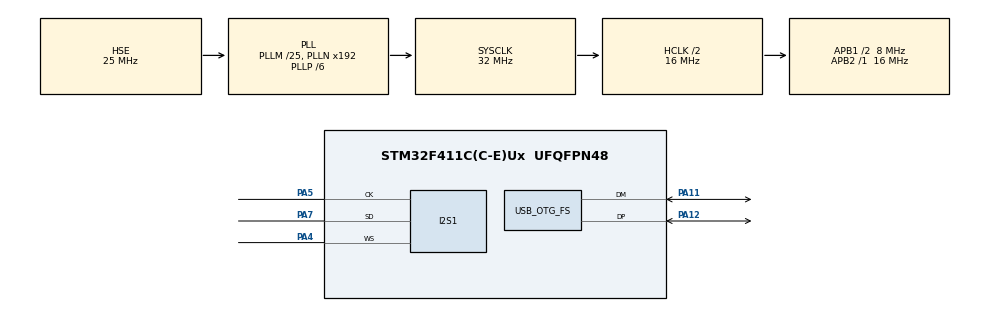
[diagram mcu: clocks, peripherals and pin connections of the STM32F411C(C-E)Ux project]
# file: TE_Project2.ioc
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I2S1.AudioFreq=I2S_AUDIOFREQ_48K
I2S1.ErrorAudioFreq=-0.35 %
I2S1.FullDuplexMode=I2S_FULLDUPLEXMODE_DISABLE
I2S1.Instance=SPI$Index
I2S1.RealAudioFreq=47.831 KHz
I2S1.VirtualMode=I2S_MODE_MASTER
Mcu.Family=STM32F4
Mcu.Name=STM32F411C(C-E)Ux
Mcu.Package=UFQFPN48
NVIC.OTG_FS_IRQn=true\:0\:0\:false\:false\:true\:false\:true\:true
NVIC.PriorityGroup=NVIC_PRIORITYGROUP_4
PA11.Mode=Device_Only
PA11.Signal=USB_OTG_FS_DM
PA12.Mode=Device_Only
PA12.Signal=USB_OTG_FS_DP
PA4.Mode=Half_Duplex_Master
PA4.Signal=I2S1_WS
PA5.Mode=Half_Duplex_Master
PA5.Signal=I2S1_CK
PA7.Mode=Half_Duplex_Master
PA7.Signal=I2S1_SD
PH0\ -\ OSC_IN.Mode=HSE-External-Oscillator
PH0\ -\ OSC_IN.Signal=RCC_OSC_IN
PH1\ -\ OSC_OUT.Mode=HSE-External-Oscillator
PH1\ -\ OSC_OUT.Signal=RCC_OSC_OUT
ProjectManager.HeapSize=0x200
ProjectManager.StackSize=0x400
ProjectManager.TargetToolchain=STM32CubeIDE
RCC.48MHZClocksFreq_Value=48000000
RCC.AHBCLKDivider=RCC_SYSCLK_DIV2
RCC.AHBFreq_Value=16000000
RCC.APB1CLKDivider=RCC_HCLK_DIV2
RCC.APB1Freq_Value=8000000
RCC.APB1TimFreq_Value=16000000
RCC.APB2Freq_Value=16000000
RCC.APB2TimFreq_Value=16000000
RCC.CortexFreq_Value=16000000
RCC.HCLKFreq_Value=16000000
RCC.HSE_VALUE=25000000
RCC.HSI_VALUE=16000000
RCC.LSE_VALUE=32768
RCC.PLLM=25
RCC.PLLP=RCC_PLLP_DIV6
RCC.SYSCLKFreq_VALUE=32000000
RCC.SYSCLKSource=RCC_SYSCLKSOURCE_PLLCLK
RCC.VCOOutputFreq_Value=192000000
USB_DEVICE.CLASS_NAME_FS=AUDIO
USB_DEVICE.VirtualMode=Audio
USB_DEVICE.VirtualModeFS=Audio_FS
USB_OTG_FS.VirtualMode=Device_Only
VP_USB_DEVICE_VS_USB_DEVICE_AUDIO_FS.Mode=AUDIO_FS
board=custom

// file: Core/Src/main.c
/* USER CODE BEGIN Header */
/**
  ******************************************************************************
  * @file           : main.c
  * @brief          : Main program body
  ******************************************************************************
  * @attention
  *
  * Copyright (c) 2025 STMicroelectronics.
  * All rights reserved.
  *
  * This software is licensed under terms that can be found in the LICENSE file
  * in the root directory of this software component.
  * If no LICENSE file comes with this software, it is provided AS-IS.
  *
  ******************************************************************************
  */
/* USER CODE END Header */
#include "main.h"
#include "usb_device.h"

I2S_HandleTypeDef hi2s1;

void SystemClock_Config(void);
static void MX_GPIO_Init(void);
static void MX_I2S1_Init(void);

/* USER CODE BEGIN 0 */
const uint16_t triangle_wave[]  = {
0x400,0x800,0xc00,0x1000,0x1400,0x1800,0x1c00,0x2000,
0x2400,0x2800,0x2c00,0x3000,0x3400,0x3800,0x3c00,0x4000,
0x4400,0x4800,0x4c00,0x5000,0x5400,0x5800,0x5c00,0x6000,
0x6400,0x6800,0x6c00,0x7000,0x7400,0x7800,0x7c00,0x8000,
0x83ff,0x87ff,0x8bff,0x8fff,0x93ff,0x97ff,0x9bff,0x9fff,
0xa3ff,0xa7ff,0xabff,0xafff,0xb3ff,0xb7ff,0xbbff,0xbfff,
0xc3ff,0xc7ff,0xcbff,0xcfff,0xd3ff,0xd7ff,0xdbff,0xdfff,
0xe3ff,0xe7ff,0xebff,0xefff,0xf3ff,0xf7ff,0xfbff,0xffff,
0xfbff,0xf7ff,0xf3ff,0xefff,0xebff,0xe7ff,0xe3ff,0xdfff,
0xdbff,0xd7ff,0xd3ff,0xcfff,0xcbff,0xc7ff,0xc3ff,0xbfff,
0xbbff,0xb7ff,0xb3ff,0xafff,0xabff,0xa7ff,0xa3ff,0x9fff,
0x9bff,0x97ff,0x93ff,0x8fff,0x8bff,0x87ff,0x83ff,0x8000,
0x7c00,0x7800,0x7400,0x7000,0x6c00,0x6800,0x6400,0x6000,
0x5c00,0x5800,0x5400,0x5000,0x4c00,0x4800,0x4400,0x4000,
0x3c00,0x3800,0x3400,0x3000,0x2c00,0x2800,0x2400,0x2000,
0x1c00,0x1800,0x1400,0x1000,0xc00,0x800,0x400,0x0,
};
/* USER CODE END 0 */

int main(void)
{

  /* MCU Configuration--------------------------------------------------------*/

  /* Reset of all peripherals, Initializes the Flash interface and the Systick. */
  HAL_Init();

  /* Configure the system clock */
  SystemClock_Config();

  /* Initialize all configured peripherals */
  MX_GPIO_Init();
  MX_USB_DEVICE_Init();
  MX_I2S1_Init();

  /* Infinite loop */
  while (1)
  {
	  HAL_I2S_Transmit(&hi2s1, triangle_wave, sizeof(triangle_wave)/sizeof(triangle_wave[0]), 1000);
  }
}

void SystemClock_Config(void)
{
  RCC_OscInitTypeDef RCC_OscInitStruct = {0};
  RCC_ClkInitTypeDef RCC_ClkInitStruct = {0};

  /** Configure the main internal regulator output voltage
  */
  __HAL_RCC_PWR_CLK_ENABLE();
  __HAL_PWR_VOLTAGESCALING_CONFIG(PWR_REGULATOR_VOLTAGE_SCALE1);

  /** Initializes the RCC Oscillators according to the specified parameters
  * in the RCC_OscInitTypeDef structure.
  */
  RCC_OscInitStruct.OscillatorType = RCC_OSCILLATORTYPE_HSE;
  RCC_OscInitStruct.HSEState = RCC_HSE_ON;
  RCC_OscInitStruct.PLL.PLLState = RCC_PLL_ON;
  RCC_OscInitStruct.PLL.PLLSource = RCC_PLLSOURCE_HSE;
  RCC_OscInitStruct.PLL.PLLM = 25;
  RCC_OscInitStruct.PLL.PLLN = 192;
  RCC_OscInitStruct.PLL.PLLP = RCC_PLLP_DIV6;
  RCC_OscInitStruct.PLL.PLLQ = 4;
  if (HAL_RCC_OscConfig(&RCC_OscInitStruct) != HAL_OK)
  {
    Error_Handler();
  }

  /** Initializes the CPU, AHB and APB buses clocks
  */
  RCC_ClkInitStruct.ClockType = RCC_CLOCKTYPE_HCLK|RCC_CLOCKTYPE_SYSCLK
                              |RCC_CLOCKTYPE_PCLK1|RCC_CLOCKTYPE_PCLK2;
  RCC_ClkInitStruct.SYSCLKSource = RCC_SYSCLKSOURCE_PLLCLK;
  RCC_ClkInitStruct.AHBCLKDivider = RCC_SYSCLK_DIV2;
  RCC_ClkInitStruct.APB1CLKDivider = RCC_HCLK_DIV2;
  RCC_ClkInitStruct.APB2CLKDivider = RCC_HCLK_DIV1;

  if (HAL_RCC_ClockConfig(&RCC_ClkInitStruct, FLASH_LATENCY_0) != HAL_OK)
  {
    Error_Handler();
  }
}

static void MX_I2S1_Init(void)
{

  hi2s1.Instance = SPI1;
  hi2s1.Init.Mode = I2S_MODE_MASTER_TX;
  hi2s1.Init.Standard = I2S_STANDARD_PHILIPS;
  hi2s1.Init.DataFormat = I2S_DATAFORMAT_16B;
  hi2s1.Init.MCLKOutput = I2S_MCLKOUTPUT_DISABLE;
  hi2s1.Init.AudioFreq = I2S_AUDIOFREQ_48K;
  hi2s1.Init.CPOL = I2S_CPOL_LOW;
  hi2s1.Init.ClockSource = I2S_CLOCK_PLL;
  hi2s1.Init.FullDuplexMode = I2S_FULLDUPLEXMODE_DISABLE;
  if (HAL_I2S_Init(&hi2s1) != HAL_OK)
  {
    Error_Handler();
  }

}

static void MX_GPIO_Init(void)
{

  /* GPIO Ports Clock Enable */
  __HAL_RCC_GPIOH_CLK_ENABLE();
  __HAL_RCC_GPIOA_CLK_ENABLE();

}

void Error_Handler(void)
{
  __disable_irq();
  while (1)
  {
  }
}
